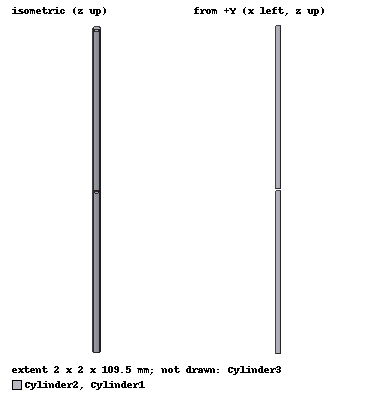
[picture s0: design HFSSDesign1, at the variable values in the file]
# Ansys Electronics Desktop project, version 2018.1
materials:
  vacuum: permittivity=1
  pec: conductivity=1e+30

design HFSSDesign1 (HFSS, DrivenModal, model units mm)
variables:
  c = 300000000m_per_sec
  frecuencia = 1GHz
  lamda = c/frecuencia
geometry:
  Cylinder1 [pec] = cylinder(axis=Z, base_centre=(0mm, 0mm, 0.25mm), radius=1mm, height=10.949cm/2 - 0.25mm)
  Rectangle1 = rectangle(corner=(0mm, -1mm, -0.25mm), y_size=2mm, z_size=0.5mm)
  Cylinder2 [pec] = cylinder(axis=Z, base_centre=(0mm, 0mm, 0.25mm), radius=1mm, height=10.949cm/2 - 0.25mm)
  Cylinder2.rotate(axis=Y, angle=180deg)
  Cylinder3 [vacuum] = cylinder(axis=Z, base_centre=(0mm, 0mm, -lamda/2), radius=1mm + lamda/4, height=lamda)
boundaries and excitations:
  Rad1: Radiation Faces=Cylinder3.face(all 3)
  1: Lumped Port Objects=Rectangle1 Modes{Mode1{IntLine{middle of Rectangle1.edge(z at corner) -> middle of Rectangle1.edge(z opposite corner)} CharImp=Zpi RenormImp=50ohm}} Impedance=50ohm
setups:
  Setup1: HfssDriven Frequency=1.3GHz MaxDeltaS=0.02 MaximumPasses=6 MinimumPasses=1 MinimumConvergedPasses=1 PercentRefinement=30 BasisOrder=1 PortAccuracy=2
    sweep Sweep: 0.2GHz to 2GHz, 451 points; Type=Interpolating InterpTolerance=0.5 InterpMaxSolns=250 InterpUsePortImped=false PassivityErrorTolerance=0.0001
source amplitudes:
  1:1: 1W 0deg
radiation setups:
  Infinite Sphere1: Infinite Sphere Theta=0deg..180deg step 2deg Phi=-180deg..180deg step 2deg
